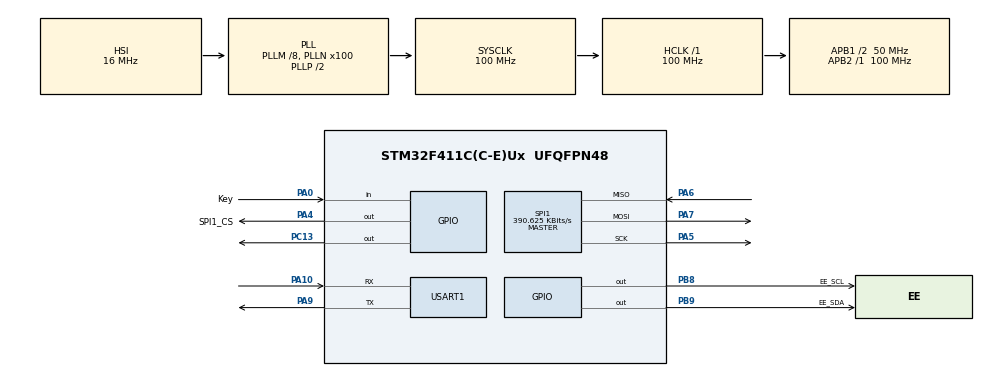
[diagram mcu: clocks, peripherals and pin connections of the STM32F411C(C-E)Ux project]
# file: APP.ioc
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Dma.Request0=USART1_RX
Dma.USART1_RX.0.Direction=DMA_PERIPH_TO_MEMORY
Dma.USART1_RX.0.FIFOMode=DMA_FIFOMODE_DISABLE
Dma.USART1_RX.0.Instance=DMA2_Stream2
Dma.USART1_RX.0.MemDataAlignment=DMA_MDATAALIGN_BYTE
Dma.USART1_RX.0.MemInc=DMA_MINC_ENABLE
Dma.USART1_RX.0.Mode=DMA_NORMAL
Dma.USART1_RX.0.PeriphDataAlignment=DMA_PDATAALIGN_BYTE
Dma.USART1_RX.0.PeriphInc=DMA_PINC_DISABLE
Dma.USART1_RX.0.Priority=DMA_PRIORITY_LOW
FREERTOS.Tasks01=defaultTask,24,128,StartDefaultTask,Default,NULL,Dynamic,NULL,NULL
Mcu.Family=STM32F4
Mcu.Name=STM32F411C(C-E)Ux
Mcu.Package=UFQFPN48
NVIC.DMA2_Stream2_IRQn=true\:5\:0\:true\:false\:true\:false\:false\:true\:true
NVIC.PriorityGroup=NVIC_PRIORITYGROUP_4
NVIC.TIM1_UP_TIM10_IRQn=true\:15\:0\:false\:false\:true\:false\:false\:true\:true
NVIC.TimeBase=TIM1_UP_TIM10_IRQn
NVIC.TimeBaseIP=TIM1
NVIC.USART1_IRQn=true\:5\:0\:false\:false\:true\:true\:true\:true\:true
PA0-WKUP.GPIO_Label=Key
PA0-WKUP.GPIO_PuPd=GPIO_PULLUP
PA0-WKUP.Signal=GPIO_Input
PA10.Mode=Asynchronous
PA10.Signal=USART1_RX
PA13.Mode=Serial_Wire
PA13.Signal=SYS_JTMS-SWDIO
PA14.Mode=Serial_Wire
PA14.Signal=SYS_JTCK-SWCLK
PA4.GPIO_Label=SPI1_CS
PA4.GPIO_Speed=GPIO_SPEED_FREQ_HIGH
PA4.PinState=GPIO_PIN_SET
PA4.Signal=GPIO_Output
PA5.Mode=Full_Duplex_Master
PA5.Signal=SPI1_SCK
PA6.Mode=Full_Duplex_Master
PA6.Signal=SPI1_MISO
PA7.Mode=Full_Duplex_Master
PA7.Signal=SPI1_MOSI
PA9.Mode=Asynchronous
PA9.Signal=USART1_TX
PB8.GPIO_Label=EE_SCL
PB8.GPIO_ModeDefaultOutputPP=GPIO_MODE_OUTPUT_OD
PB8.GPIO_PuPd=GPIO_NOPULL
PB8.GPIO_Speed=GPIO_SPEED_FREQ_VERY_HIGH
PB8.PinState=GPIO_PIN_SET
PB8.Signal=GPIO_Output
PB9.GPIO_Label=EE_SDA
PB9.GPIO_ModeDefaultOutputPP=GPIO_MODE_OUTPUT_OD
PB9.GPIO_PuPd=GPIO_NOPULL
PB9.GPIO_Speed=GPIO_SPEED_FREQ_VERY_HIGH
PB9.PinState=GPIO_PIN_SET
PB9.Signal=GPIO_Output
PC13-ANTI_TAMP.Signal=GPIO_Output
PH0\ -\ OSC_IN.Mode=HSE-External-Oscillator
PH0\ -\ OSC_IN.Signal=RCC_OSC_IN
PH1\ -\ OSC_OUT.Mode=HSE-External-Oscillator
PH1\ -\ OSC_OUT.Signal=RCC_OSC_OUT
ProjectManager.HeapSize=0x200
ProjectManager.StackSize=0x400
ProjectManager.TargetToolchain=MDK-ARM V5
RCC.48MHZClocksFreq_Value=50000000
RCC.AHBFreq_Value=100000000
RCC.APB1CLKDivider=RCC_HCLK_DIV2
RCC.APB1Freq_Value=50000000
RCC.APB1TimFreq_Value=100000000
RCC.APB2Freq_Value=100000000
RCC.APB2TimFreq_Value=100000000
RCC.CortexFreq_Value=100000000
RCC.HCLKFreq_Value=100000000
RCC.HSE_VALUE=25000000
RCC.HSI_VALUE=16000000
RCC.LSE_VALUE=32768
RCC.PLLM=8
RCC.PLLN=100
RCC.SYSCLKFreq_VALUE=100000000
RCC.SYSCLKSource=RCC_SYSCLKSOURCE_PLLCLK
RCC.VCOOutputFreq_Value=200000000
SPI1.BaudRatePrescaler=SPI_BAUDRATEPRESCALER_256
SPI1.CalculateBaudRate=390.625 KBits/s
SPI1.Direction=SPI_DIRECTION_2LINES
SPI1.Mode=SPI_MODE_MASTER
SPI1.VirtualType=VM_MASTER
USART1.VirtualMode=VM_ASYNC
VP_FREERTOS_VS_CMSIS_V2.Mode=CMSIS_V2
VP_SYS_VS_tim1.Mode=TIM1
board=custom

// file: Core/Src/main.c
/* USER CODE BEGIN Header */
/**
 ******************************************************************************
 * @file           : main.c
 * @brief          : Main program body
 ******************************************************************************
 * @attention
 *
 * Copyright (c) 2026 STMicroelectronics.
 * All rights reserved.
 *
 * This software is licensed under terms that can be found in the LICENSE file
 * in the root directory of this software component.
 * If no LICENSE file comes with this software, it is provided AS-IS.
 *
 ******************************************************************************
 */
/* USER CODE END Header */
#include "main.h"
#include "cmsis_os.h"
#include "dma.h"
#include "spi.h"
#include "usart.h"
#include "gpio.h"

/* USER CODE BEGIN Includes */
#include "at24cxx_driver.h"
#include "w25qxx_handler.h"
#include "OTA.h"

#include "Debug.h"
/* USER CODE END Includes */

void SystemClock_Config(void);
void MX_FREERTOS_Init(void);

/* USER CODE BEGIN 0 */
extern void soft_reset(void);
/* USER CODE END 0 */

int main(void)
{
    /* USER CODE BEGIN 1 */
    SCB->VTOR = FLASH_BASE | 0x00008000;
    __enable_irq();
    /* USER CODE END 1 */

    /* MCU
     * Configuration--------------------------------------------------------*/

    /* Reset of all peripherals, Initializes the Flash interface and the
     * Systick. */
    HAL_Init();

    /* Configure the system clock */
    SystemClock_Config();

    /* Initialize all configured peripherals */
    MX_GPIO_Init();
    MX_DMA_Init();
    MX_SPI1_Init();
    MX_USART1_UART_Init();
    /* USER CODE BEGIN 2 */
    debug_init();

    ee_CheckOk();
    W25Q64_Init();
    uint8_t ee_read_flag = 0xFF;
    if (ee_ReadBytes(&ee_read_flag, 0x00, 1) == 0)
    {
        DEBUG_OUT(e, MAIN_LOG_TAG, "Read OTA state from EEPROM failed");
        soft_reset();
    }
    DEBUG_OUT(i, MAIN_LOG_TAG, "Current OTA state read from EEPROM: 0x%02X",
              ee_read_flag);

    switch (ee_read_flag)
    {
    case EE_OTA_APP_CHECK_START:
        ee_read_flag = EE_OTA_APP_CHECK_SUCCESS;
        ee_WriteBytes(&ee_read_flag, 0x00, 1);
        DEBUG_OUT(i, MAIN_LOG_TAG, "OTA first-boot check marked as success");

        while(1)
        {
            DEBUG_OUT(w, MAIN_LOG_TAG,
                      "wait for iwdg reset to trigger OTA update...");
            // HAL_Delay(10000);
            soft_reset();
        }
        // break;

    case EE_OTA_APP_CHECK_SUCCESS:
        ee_read_flag = EE_OTA_NO_APP_UPDATE;
        ee_WriteBytes(&ee_read_flag, 0x00, 1);
        DEBUG_OUT(i, MAIN_LOG_TAG, "OTA check flag cleared to NO_APP_UPDATE");
        break;

    case EE_OTA_NO_APP_UPDATE:
        break;

    default:
        DEBUG_OUT(w, MAIN_LOG_TAG, "Unexpected OTA state: 0x%02X",
                    ee_read_flag);
        soft_reset();
        break;
    }

    DEBUG_OUT(i, MAIN_LOG_TAG, "System initialized successfully.");
    /* USER CODE END 2 */

    /* Init scheduler */
    osKernelInitialize(); /* Call init function for freertos objects (in
                             freertos.c) */
    MX_FREERTOS_Init();

    /* Start scheduler */
    osKernelStart();
    /* We should never get here as control is now taken by the scheduler */
    /* Infinite loop */
    while (1)
    {

    }
}

void SystemClock_Config(void)
{
    RCC_OscInitTypeDef RCC_OscInitStruct = {0};
    RCC_ClkInitTypeDef RCC_ClkInitStruct = {0};

    /** Configure the main internal regulator output voltage
     */
    __HAL_RCC_PWR_CLK_ENABLE();
    __HAL_PWR_VOLTAGESCALING_CONFIG(PWR_REGULATOR_VOLTAGE_SCALE1);

    /** Initializes the RCC Oscillators according to the specified parameters
     * in the RCC_OscInitTypeDef structure.
     */
    RCC_OscInitStruct.OscillatorType      = RCC_OSCILLATORTYPE_HSI;
    RCC_OscInitStruct.HSIState            = RCC_HSI_ON;
    RCC_OscInitStruct.HSICalibrationValue = RCC_HSICALIBRATION_DEFAULT;
    RCC_OscInitStruct.PLL.PLLState        = RCC_PLL_ON;
    RCC_OscInitStruct.PLL.PLLSource       = RCC_PLLSOURCE_HSI;
    RCC_OscInitStruct.PLL.PLLM            = 8;
    RCC_OscInitStruct.PLL.PLLN            = 100;
    RCC_OscInitStruct.PLL.PLLP            = RCC_PLLP_DIV2;
    RCC_OscInitStruct.PLL.PLLQ            = 4;
    if (HAL_RCC_OscConfig(&RCC_OscInitStruct) != HAL_OK)
    {
        Error_Handler();
    }

    /** Initializes the CPU, AHB and APB buses clocks
     */
    RCC_ClkInitStruct.ClockType = RCC_CLOCKTYPE_HCLK | RCC_CLOCKTYPE_SYSCLK |
                                  RCC_CLOCKTYPE_PCLK1 | RCC_CLOCKTYPE_PCLK2;
    RCC_ClkInitStruct.SYSCLKSource   = RCC_SYSCLKSOURCE_PLLCLK;
    RCC_ClkInitStruct.AHBCLKDivider  = RCC_SYSCLK_DIV1;
    RCC_ClkInitStruct.APB1CLKDivider = RCC_HCLK_DIV2;
    RCC_ClkInitStruct.APB2CLKDivider = RCC_HCLK_DIV1;

    if (HAL_RCC_ClockConfig(&RCC_ClkInitStruct, FLASH_LATENCY_3) != HAL_OK)
    {
        Error_Handler();
    }
}

void HAL_TIM_PeriodElapsedCallback(TIM_HandleTypeDef *htim)
{
    if (htim->Instance == TIM1)
    {
        HAL_IncTick();
    }
}

void Error_Handler(void)
{
    /* USER CODE BEGIN Error_Handler_Debug */
    /* User can add his own implementation to report the HAL error return state
     */
    __disable_irq();
    while (1)
    {
    }
    /* USER CODE END Error_Handler_Debug */
}

#ifdef USE_FULL_ASSERT
/**
 * @brief  Reports the name of the source file and the source line number
 *         where the assert_param error has occurred.
 * @param  file: pointer to the source file name
 * @param  line: assert_param error line source number
 * @retval None
 */
void assert_failed(uint8_t *file, uint32_t line)
{
    /* USER CODE BEGIN 6 */
    /* User can add his own implementation to report the file name and line
       number, ex: printf("Wrong parameters value: file %s on line %d\r\n",
       file, line) */
    /* USER CODE END 6 */
}
#endif /* USE_FULL_ASSERT */

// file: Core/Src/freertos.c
/* USER CODE BEGIN Header */
/**
 ******************************************************************************
 * File Name          : freertos.c
 * Description        : Code for freertos applications
 ******************************************************************************
 * @attention
 *
 * Copyright (c) 2026 STMicroelectronics.
 * All rights reserved.
 *
 * This software is licensed under terms that can be found in the LICENSE file
 * in the root directory of this software component.
 * If no LICENSE file comes with this software, it is provided AS-IS.
 *
 ******************************************************************************
 */
/* USER CODE END Header */

#include "FreeRTOS.h"
#include "task.h"
#include "main.h"
#include "cmsis_os.h"

/* USER CODE BEGIN Includes */
#include "usart.h"
#include "queue.h"
#include "ymodem.h"
/* USER CODE END Includes */

/* USER CODE BEGIN Variables */
uint8_t               g_rec_cmd[10] = {0};
QueueHandle_t         Q_YmodemReclength;
extern osThreadId_t   OTA_taskHandle;
extern osThreadAttr_t OTA_task_attributes;
/* USER CODE END Variables */
/* Definitions for defaultTask */
osThreadId_t         defaultTaskHandle;
const osThreadAttr_t defaultTask_attributes = {
    .name       = "defaultTask",
    .stack_size = 128 * 4,
    .priority   = (osPriority_t)osPriorityNormal,
};

/* USER CODE BEGIN FunctionPrototypes */
extern void ota_task_runnable(void *argument);
/* USER CODE END FunctionPrototypes */

void StartDefaultTask(void *argument);

void MX_FREERTOS_Init(void); /* (MISRA C 2004 rule 8.1) */

void MX_FREERTOS_Init(void)
{

    /* USER CODE BEGIN RTOS_QUEUES */
    /* add queues, ... */
    Q_YmodemReclength = xQueueCreate(1, sizeof(uint16_t));
    /* USER CODE END RTOS_QUEUES */

    /* Create the thread(s) */
    /* creation of defaultTask */
    defaultTaskHandle =
        osThreadNew(StartDefaultTask, NULL, &defaultTask_attributes);

    /* USER CODE BEGIN RTOS_THREADS */
    /* add threads, ... */
    OTA_taskHandle = osThreadNew(ota_task_runnable, NULL, &OTA_task_attributes);

    /* USER CODE END RTOS_THREADS */

}

void StartDefaultTask(void *argument)
{
    /* USER CODE BEGIN StartDefaultTask */

    /* Infinite loop */
    for (;;)
    {
        HAL_GPIO_TogglePin(GPIOC, GPIO_PIN_13);
        osDelay(100);
    }
    /* USER CODE END StartDefaultTask */
}

/* USER CODE BEGIN Application */
void HAL_UARTEx_RxEventCallback(UART_HandleTypeDef *huart, uint16_t Size)
{
    uint16_t   t_u16_rec_len            = 0;
    BaseType_t xHigherPriorityTaskWoken = pdFALSE;
    BaseType_t retval                   = pdFALSE;

    if (USART1 == huart->Instance)
    {
        t_u16_rec_len = Size;
        retval = xQueueOverwriteFromISR(Q_YmodemReclength, &t_u16_rec_len,
                                        &xHigherPriorityTaskWoken);
        if (pdFALSE != retval)
        {
            xHigherPriorityTaskWoken = pdTRUE;
        }
        HAL_UART_DMAStop(&huart1);
        portYIELD_FROM_ISR(xHigherPriorityTaskWoken);
    }
}

/* USER CODE END Application */
